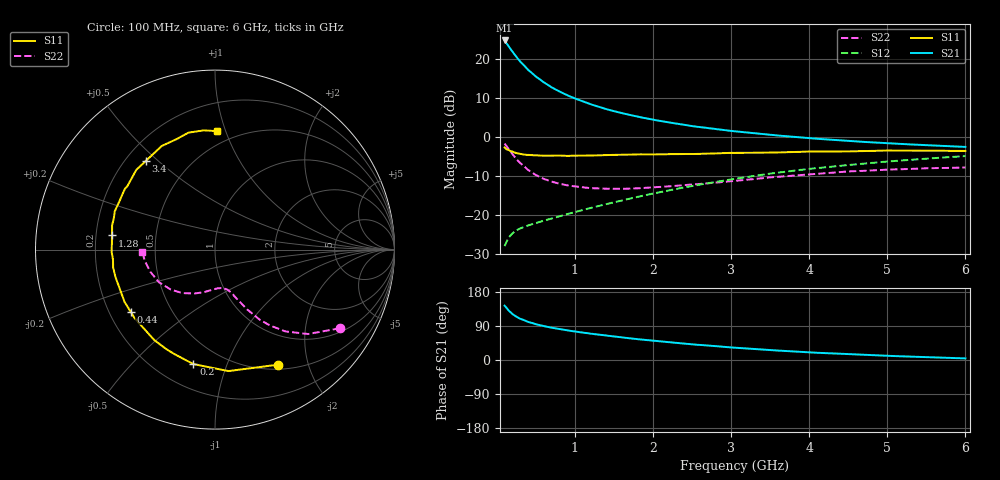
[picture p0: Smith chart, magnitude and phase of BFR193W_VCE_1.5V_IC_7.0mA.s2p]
! Infineon Technologies  Discrete & RF Semiconductors
! BFR193W
! VCE =  1.5 V,  IC =  7.0 mA
! Common Emitter S-Parameters:  Nov 2015
# GHz  S  MA  R  50
!  f  S11  S21  S12  S22
! GHz  MAG  ANG  MAG  ANG  MAG  ANG  MAG  ANG
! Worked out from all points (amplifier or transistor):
!   192 points, 100 MHz to 6 GHz, reference 50 ohm
!   highest |S21| = 24.7 dB at 100 MHz (marker M1)
!   |S21| within 3 dB of that: start of sweep to 205.5 MHz
!   unconditionally stable (mu >= 1): 1.077 GHz to 2.648 GHz
!   at 440 MHz: K = 0.62, MSG = 19.5 dB, |S12| = -22.4 dB
!   at 1.7 GHz: K = 1.06, MAG = 9.3 dB, |S12| = -15.8 dB
!   at 6 GHz: K = 0.92, MSG = 1.2 dB, |S12| = -4.9 dB
!   S11 on the Smith chart (normalised r, x): 100 MHz: 0.56, -1.55; 200 MHz: 0.35, -0.77; 440 MHz: 0.29, -0.30; 1.28 GHz: 0.27, +0.06; 3.4 GHz: 0.28, +0.46; 6 GHz: 0.40, +0.94
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0.1  0.732 -61.1  17.19 143.4  0.0398 61.8  0.8217 -32.2
0.15  0.681 -83.6  14.55 130.7  0.051 53.6  0.7003 -42.2
0.2  0.6491 -100.7  12.37 121.2  0.0582 48.4  0.6013 -49.3
0.24  0.6244 -111.3  10.94 115.9  0.0623 46.1  0.5359 -53.1
0.26  0.6172 -116.0  10.32 113.3  0.0642 45.3  0.5083 -54.8
0.3  0.6068 -124.0  9.221 108.8  0.0672 44.0  0.4622 -57.5
0.4  0.5886 -139.5  7.231 100.5  0.0733 43.4  0.3773 -61.8
0.44  0.5836 -143.7  6.701 98.3  0.0755 43.8  0.3562 -62.7
0.52  0.5795 -151.6  5.742 93.5  0.0798 44.6  0.3178 -64.8
0.6  0.5736 -158.2  5.015 89.5  0.0844 45.9  0.29 -66.8
0.7  0.5752 -164.5  4.322 85.2  0.0898 47.5  0.2672 -68.3
0.9  0.5711 -174.5  3.417 78.2  0.1024 51.0  0.2391 -71.5
1.1  0.5754 178.0  2.857 72.5  0.1157 53.9  0.226 -75.3
1.28  0.5793 172.2  2.475 67.6  0.1286 56.0  0.2187 -79.0
1.6  0.5891 163.4  2.017 59.5  0.1535 58.7  0.2158 -85.6
2.08  0.5975 152.2  1.608 49.3  0.195 60.3  0.2281 -95.9
2.5  0.6028 144.0  1.374 41.2  0.2346 60.2  0.2449 -104.5
3.1  0.6241 132.9  1.165 31.8  0.2953 57.6  0.2759 -117.8
3.4  0.627 127.7  1.087 27.6  0.3275 55.7  0.2955 -124.8
4.1  0.6486 115.6  0.946 19.1  0.3983 50.1  0.3365 -140.3
5.1  0.6671 101.3  0.819 10.3  0.4919 41.0  0.3828 -162.9
6  0.6601 88.9  0.744 4.2  0.5674 32.0  0.4055 -178.2
